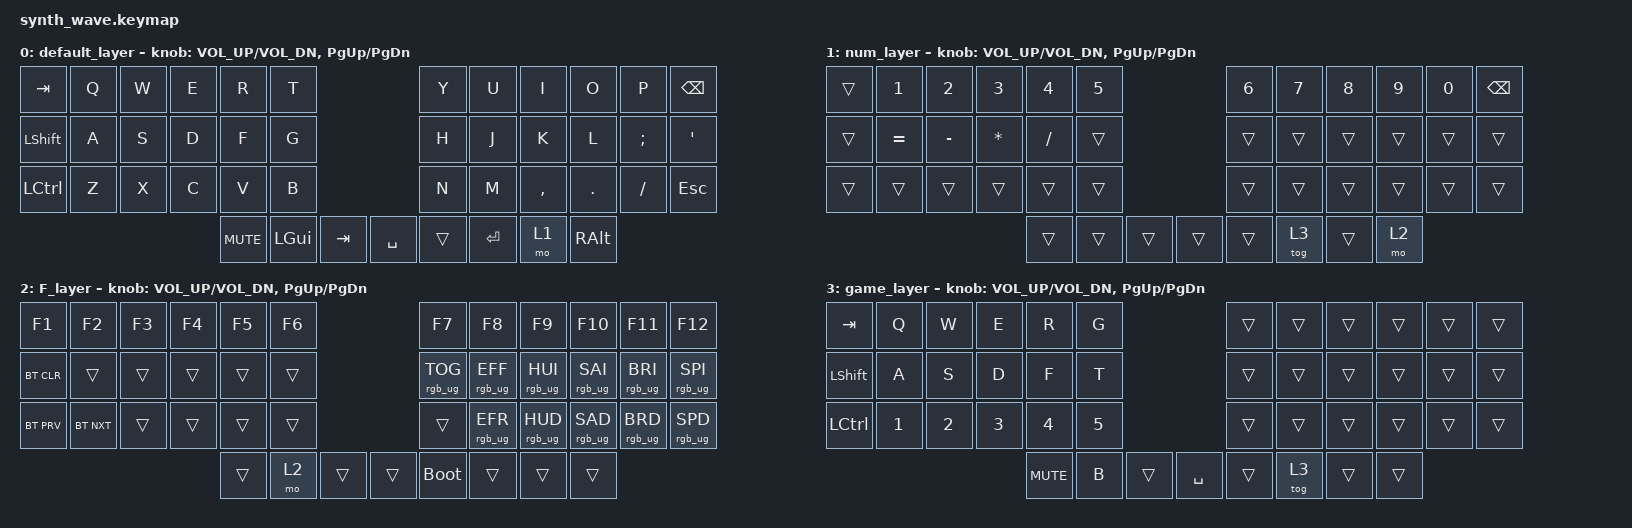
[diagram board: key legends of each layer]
/*
 * Copyright (c) 2023 The ZMK Contributors
 *
 * SPDX-License-Identifier: MIT
 */

#include <behaviors.dtsi>
#include <dt-bindings/zmk/keys.h>
#include <dt-bindings/zmk/bt.h>
#include <dt-bindings/zmk/ext_power.h>
#include <dt-bindings/zmk/rgb.h>

/ {
    
    sensors: sensors {
        compatible = "zmk,keymap-sensors";
        sensors = <&left_encoder &right_encoder>;
        triggers-per-rotation = <20>;
    };
    
    keymap {
        compatible = "zmk,keymap";
        default_layer {
            bindings = <
                &kp TAB &kp Q &kp W &kp E &kp R &kp T                       &kp Y   &kp U     &kp I   &kp O   &kp P   &kp BKSP
                &kp LSHIFT &kp A &kp S &kp D &kp F &kp G                    &kp H   &kp J     &kp K   &kp L   &kp SEMICOLON    &kp SINGLE_QUOTE
                &kp LCTRL &kp Z &kp X &kp C &kp V &kp B                     &kp N   &kp M   &kp COMMA &kp DOT &kp SLASH &kp ESC
                            &kp C_MUTE &kp LGUI &kp TAB &kp SPACE        &trans &kp ENTER &mo 1 &kp RALT
            >;
            sensor-bindings = <&inc_dec_kp C_VOL_UP C_VOL_DN &inc_dec_kp PG_UP PG_DN>;
        };
        num_layer {
            bindings = <
                &trans &kp N1 &kp N2 &kp N3 &kp N4 &kp N5                        &kp N6   &kp N7     &kp N8   &kp N9   &kp N0   &kp BKSP
                &trans &kp EQUAL &kp MINUS &kp ASTERISK &kp SLASH &trans         &trans   &trans    &trans   &trans   &trans    &trans
                &trans &trans &trans &trans &trans &trans                        &trans &trans &trans &trans &trans &trans
                                            &trans &trans &trans &trans     &trans &tog 3 &trans &mo 2
            >;
            sensor-bindings = <&inc_dec_kp C_VOL_UP C_VOL_DN &inc_dec_kp PG_UP PG_DN>;
        };
        F_layer {
            bindings = <
                &kp F1 &kp F2 &kp F3 &kp F4 &kp F5                              &kp F6   &kp F7     &kp F8   &kp F9   &kp F10   &kp F11 &kp F12
                &bt BT_CLR &trans &trans &trans &trans &trans                   &rgb_ug RGB_TOG &rgb_ug RGB_EFF &rgb_ug RGB_HUI &rgb_ug RGB_SAI &rgb_ug RGB_BRI &rgb_ug RGB_SPI
                &bt BT_PRV &bt BT_NXT &trans &trans &trans &trans               &trans &rgb_ug RGB_EFR &rgb_ug RGB_HUD &rgb_ug RGB_SAD &rgb_ug RGB_BRD &rgb_ug RGB_SPD
                                            &trans &mo 2 &trans &trans     &bootloader &trans &trans &trans
            >;
            sensor-bindings = <&inc_dec_kp C_VOL_UP C_VOL_DN &inc_dec_kp PG_UP PG_DN>;
        };
        game_layer {
            bindings = <
                &kp TAB &kp Q &kp W &kp E &kp R &kp G                     &trans &trans &trans &trans &trans &trans
                &kp LSHIFT &kp A &kp S &kp D &kp F &kp T                  &trans &trans &trans &trans &trans &trans
                &kp LCTRL &kp N1 &kp N2 &kp N3 &kp N4 &kp N5              &trans &trans &trans &trans &trans &trans
                            &kp C_MUTE &kp B &trans &kp SPACE       &trans &tog 3 &trans &trans
            >;
            sensor-bindings = <&inc_dec_kp C_VOL_UP C_VOL_DN &inc_dec_kp PG_UP PG_DN>;
        };
    };
};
